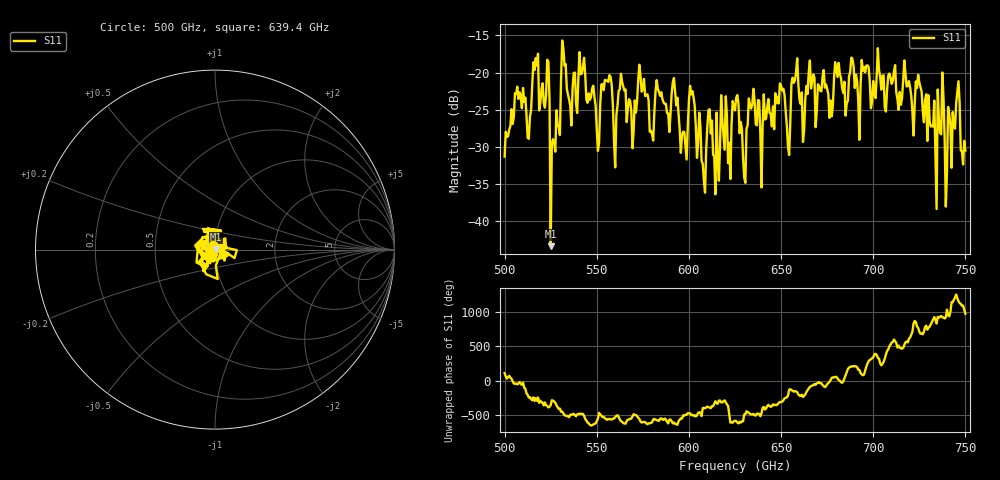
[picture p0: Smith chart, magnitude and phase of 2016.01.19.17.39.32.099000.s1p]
!Created with skrf (http://scikit-rf.org).
# GHz S RI R 50.0
!freq ReS11 ImS11
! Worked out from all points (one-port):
!   401 points, 500 GHz to 750 GHz, reference 50 ohm
!   lowest |S11| = -43.4 dB at 525 GHz (marker M1), VSWR 1.01, Z = 50.7 + j0.0989 ohm
!   |S11| at or under -10 dB: start of sweep to end of sweep
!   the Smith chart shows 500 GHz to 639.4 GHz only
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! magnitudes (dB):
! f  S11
! 500 GHz  -31.3
! 506.9 GHz  -21.9
! 513.1 GHz  -28.9
! 516.9 GHz  -18.1
! 523.1 GHz  -18.3
! 525 GHz  -43.4
! 526.2 GHz  -29.0
! 531.2 GHz  -15.7
! 541.9 GHz  -20.2
! 550.6 GHz  -30.6
! 562.5 GHz  -22.3
! 593.8 GHz  -23.4
! 597.5 GHz  -28.0
! 601.9 GHz  -22.5
! 608.1 GHz  -34.6
! 611.2 GHz  -25.0
! 615 GHz  -25.4
! 625 GHz  -25.1
! 630 GHz  -34.1
! 633.8 GHz  -24.9
! 650.6 GHz  -22.4
! 653.8 GHz  -30.0
! 656.2 GHz  -20.7
! 687.5 GHz  -19.9
! 718.8 GHz  -21.8
! 740 GHz  -33.5
! 745.6 GHz  -22.6
! 750 GHz  -30.5
